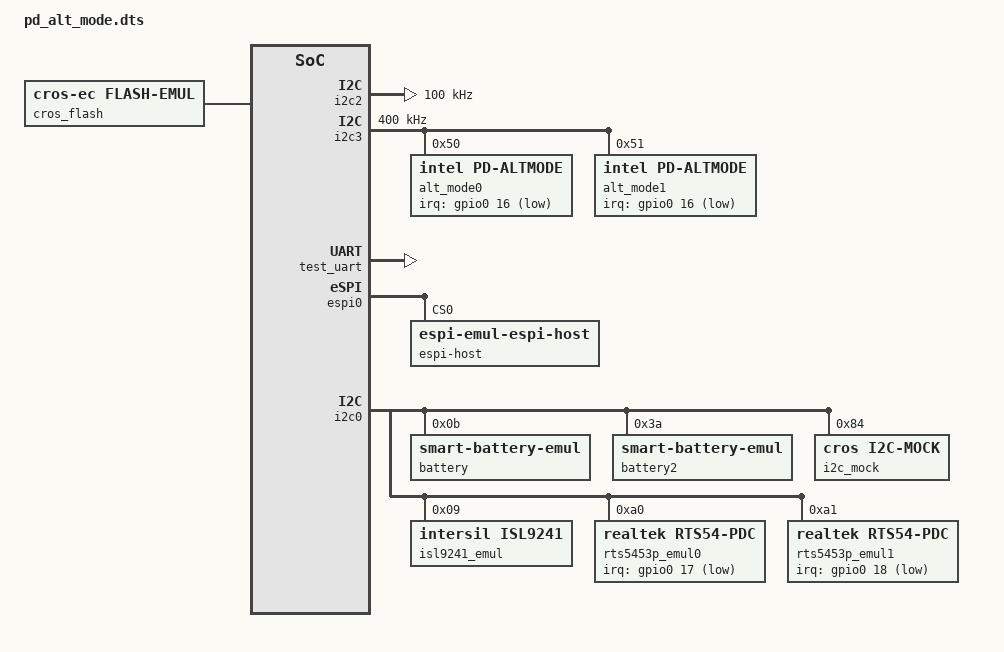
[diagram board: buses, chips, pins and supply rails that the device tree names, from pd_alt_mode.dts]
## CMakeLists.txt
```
# Copyright 2024 The ChromiumOS Authors
# Use of this source code is governed by a BSD-style license that can be
# found in the LICENSE file.

target_include_directories(app PRIVATE ${CMAKE_CURRENT_SOURCE_DIR}/include)

target_sources(app PRIVATE src/usbc_intel_alt_mode.c)
```

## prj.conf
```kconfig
# Copyright 2024 The ChromiumOS Authors
# Use of this source code is governed by a BSD-style license that can be
# found in the LICENSE file.

# Enabling this config will show all I2C traffic, do not commit with this line
# uncommented, it is here to make it easy to find/enable.
# CONFIG_I2C_LOG_LEVEL_DBG=y

CONFIG_ZTEST=y
CONFIG_ZTEST_ASSERT_VERBOSE=1
CONFIG_ZTEST_MOCKING=y
CONFIG_ZTEST_PARAMETER_COUNT=24
CONFIG_TEST=y
CONFIG_PLATFORM_EC_DEBUG_ASSERT=y
# Do not set CONFIG_ASSERT_TEST=y here, it will mask assert failures.
# Instead set CONFIG_ASSERT_TEST=y only on specific tests that require it.
CONFIG_ASSERT_TEST=n
CONFIG_SHELL_VT100_COMMANDS=n

# Print logs from Zephyr LOG_MODULE to stdout
CONFIG_NATIVE_UART_0_ON_STDINOUT=y

# Simulate 10 ticks per ms
CONFIG_SYS_CLOCK_TICKS_PER_SEC=10000
CONFIG_TASKS_SET_TEST_RUNNER_TID_RULE=y

# Enable exception stack traces for better errors
CONFIG_EXCEPTION_STACK_TRACE=y

# Enable debugging features
CONFIG_DEBUG=y
CONFIG_DEBUG_INFO=y
CONFIG_DEBUG_OPTIMIZATIONS=y
CONFIG_PLATFORM_EC_CONSOLE_DEBUG=y
CONFIG_SHELL_BACKEND_DUMMY=y
CONFIG_SHELL_BACKEND_SERIAL=n
CONFIG_SHELL_HELP=y
# We aren't using the serial console, but there is still a lot of code that
# assumes that a serial port exists.
CONFIG_SERIAL=y
CONFIG_RING_BUFFER=y
CONFIG_PLATFORM_EC_I2C_DEBUG_PASSTHRU=y

CONFIG_PLATFORM_EC=y
CONFIG_CROS_EC=y
CONFIG_SHIMMED_TASKS=y
CONFIG_EMUL=y
CONFIG_GPIO=y
CONFIG_PLATFORM_EC_GPIO_INIT_PRIORITY=49

CONFIG_PLATFORM_EC_POWERSEQ=y

CONFIG_PLATFORM_EC_EXTPOWER_GPIO=y

CONFIG_PLATFORM_EC_USB_PID=0x5000
CONFIG_PLATFORM_EC_USBC=y
CONFIG_PLATFORM_EC_I2C_VIRTUAL_BATTERY=y
CONFIG_PLATFORM_EC_CHIP_INIT_ROM_REGION=y
CONFIG_PLATFORM_EC_USB_PD_REV30=y
CONFIG_PLATFORM_EC_BATTERY_FUEL_GAUGE=y
CONFIG_PLATFORM_EC_HOSTCMD=y
CONFIG_PLATFORM_EC_USB_MUX_RUNTIME_CONFIG=y
CONFIG_PLATFORM_EC_SWITCH=y
CONFIG_PLATFORM_EC_USB_PD_DISCHARGE=n
CONFIG_PLATFORM_EC_USB_PD_CLEAR_HARD_RESET_STATUS=y
CONFIG_PLATFORM_EC_CONSOLE_CMD_WAITMS=y
CONFIG_PLATFORM_EC_POWER_SLEEP_FAILURE_DETECTION=y
CONFIG_PLATFORM_EC_CHIPSET_RESUME_INIT_HOOK=y

CONFIG_ESPI=y
CONFIG_EMUL_ESPI_HOST=y
CONFIG_ESPI_PERIPHERAL_ACPI_SHM_REGION=y
CONFIG_ESPI_PERIPHERAL_CUSTOM_OPCODE=y
CONFIG_ESPI_PERIPHERAL_EC_HOST_CMD=y

# Things that default to on, but aren't working yet
CONFIG_PLATFORM_EC_BACKLIGHT_LID=n
CONFIG_PLATFORM_EC_VBOOT_HASH=n
CONFIG_PLATFORM_EC_POWERSEQ_INTEL=n
CONFIG_PLATFORM_EC_POWERSEQ_PP5000_CONTROL=n

# USB-C

# Chipset for Herobrine
CONFIG_AP_ARM_QUALCOMM_SC7280=y
CONFIG_PLATFORM_EC_POWERSEQ_HOST_SLEEP=y

CONFIG_PLATFORM_EC_LID_SWITCH=y
CONFIG_PLATFORM_EC_POWER_BUTTON=y
CONFIG_PLATFORM_EC_HOST_INTERFACE_ESPI=y
CONFIG_PLATFORM_EC_PORT80=y
CONFIG_PLATFORM_EC_VSTORE_SLOT_COUNT=2

CONFIG_PLATFORM_EC_MKBP_EVENT=y
CONFIG_PLATFORM_EC_MKBP_USE_GPIO=y
CONFIG_PLATFORM_EC_MKBP_INPUT_DEVICES=y
CONFIG_FLASH=y
CONFIG_FLASH_PAGE_LAYOUT=y
CONFIG_PLATFORM_EC_VBOOT_HASH=y

CONFIG_PLATFORM_EC_CONSOLE_CMD_MD=y

# Power Management (Herobrine arch enables this)
CONFIG_PM=y
CONFIG_INPUT=y

CONFIG_POWER_SEQUENCE_MOCK=y
CONFIG_PLATFORM_EC_USB_PD_TCPM_MUX=n
CONFIG_PLATFORM_EC_USB_POWER_DELIVERY=n
CONFIG_PLATFORM_EC_USB_PD_HOST_CMD=n
CONFIG_PLATFORM_EC_USBC_PPC=n
CONFIG_PLATFORM_EC_CHARGER=y
CONFIG_PLATFORM_EC_USB_CHARGER=n
CONFIG_TASK_PD_ALTMODE_INTEL_STACK_SIZE=1184
CONFIG_PLATFORM_EC_USB_PD_VBUS_MEASURE_NOT_PRESENT=y
CONFIG_PLATFORM_EC_CHARGER_SENSE_RESISTOR=10
CONFIG_PLATFORM_EC_CHARGER_SENSE_RESISTOR_AC=10
```

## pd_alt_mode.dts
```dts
/* Copyright 2023 The ChromiumOS Authors
 * Use of this source code is governed by a BSD-style license that can be
 * found in the LICENSE file.
 */

#include <board-overlays/native_posix.dts>
#include <cros/binman.dtsi>
#include <cros/thermistor/thermistor.dtsi>
#include <dt-bindings/gpio_defines.h>
#include <dt-bindings/wake_mask_event_defines.h>
#include <freq.h>

/ {
	chosen {
		cros-ec,espi = &espi0;
		cros-ec,flash = &flash0;
		cros-ec,flash-controller = &cros_flash;
		zephyr,shell-uart = &test_uart;
	};

	aliases {
		gpio-wp = &gpio_wp_l;
	};

	ec-console {
		compatible = "ec-console";
		disabled = "events", "lpc", "hostcmd";
	};

	/*
	 * Keep these GPIOs in pin order.
	 * If you need to add one, make sure you increase
	 * ngpios in the gpio0 node further down.
	 */
	named-gpios {
		compatible = "named-gpios";

		gpio_acok_od: acok_od {
			gpios = <&gpio0 0 GPIO_INPUT>;
			enum-name = "GPIO_AC_PRESENT";
		};
		gpio_wp_l: wp_l {
			gpios = <&gpio0 1 (GPIO_INPUT | GPIO_OUTPUT |
					   GPIO_ACTIVE_LOW)>;
		};
		gpio_ec_pch_wake_odl: ec_pch_wake_odl {
			gpios = <&gpio0 2 GPIO_OUTPUT_HIGH>;
		};
		/* SOC Required Pins */
		gpio_ap_rst_l: ap_rst_l {
			gpios = <&gpio0 3 GPIO_INPUT>;
			enum-name = "GPIO_AP_RST_L";
		};
		gpio_ps_hold: ps_hold {
			gpios = <&gpio0 4 (GPIO_INPUT | GPIO_PULL_DOWN)>;
			enum-name = "GPIO_PS_HOLD";
		};
		gpio_mb_power_good: mb_power_good {
			gpios = <&gpio0 5 (GPIO_OUTPUT | GPIO_INPUT |
				GPIO_PULL_DOWN)>;
			enum-name = "GPIO_POWER_GOOD";
		};
		gpio_ap_suspend: ap_suspend {
			gpios = <&gpio0 6 GPIO_INPUT>;
			enum-name = "GPIO_AP_SUSPEND";
		};
		gpio_pmic_kpd_pwr_odl: pmic_kpd_pwr_odl {
			gpios = <&gpio0 7 GPIO_OUTPUT_HIGH>;
			enum-name = "GPIO_PMIC_KPD_PWR_ODL";
		};
		gpio_pmic_resin_l: pmic_resin_l {
			gpios = <&gpio0 8 GPIO_OUTPUT_HIGH>;
			enum-name = "GPIO_PMIC_RESIN_L";
		};
		gpio_warm_reset_l: warm_reset_l {
			gpios = <&gpio0 9 GPIO_INPUT>;
			enum-name = "GPIO_WARM_RESET_L";
		};
		gpio_lid_open_ec: lid_open_ec {
			/* GPIO_PULL_UP will cause this start asserted. */
			gpios = <&gpio0 10 (GPIO_INPUT | GPIO_PULL_UP)>;
			enum-name = "GPIO_LID_OPEN";
		};
		gpio_switchcap_on: switchcap_on {
			gpios = <&gpio0 11 (GPIO_INPUT | GPIO_OUTPUT_LOW)>;
		};
		gpio_ec_pwr_btn_odl: ec_pwr_btn_odl {
			/* GPIO_PULL_UP will cause this start asserted,
			 * i.e. not pressed.
			 */
			gpios = <&gpio0 12 (GPIO_ACTIVE_LOW | GPIO_INPUT | GPIO_PULL_UP)>;
			enum-name = "GPIO_POWER_BUTTON_L";
		};
		gpio_src_vph_pwr_pg: src_vph_pwr_pg {
			gpios = <&gpio0 13 (GPIO_INPUT | GPIO_OUTPUT |
				GPIO_PULL_DOWN)>;
		};
		ec_batt_pres_odl {
			gpios = <&gpio0 14 GPIO_INPUT>;
			enum-name = "GPIO_BATT_PRES_ODL";
		};
		gpio_ap_ec_int_l: ap_ec_int_l {
			gpios = <&gpio0 15 GPIO_OUTPUT_HIGH>;
			enum-name = "GPIO_EC_INT_L";
		};
	};

	gpio-interrupts {
		compatible = "cros-ec,gpio-interrupts";

		int_ac_present: ac_present {
			irq-pin = <&gpio_acok_od>;
			flags = <GPIO_INT_EDGE_BOTH>;
			handler = "extpower_interrupt";
		};
		int_mb_power_good: mb_power_good {
			irq-pin = <&gpio_mb_power_good>;
			flags = <GPIO_INT_EDGE_BOTH>;
			handler = "power_signal_interrupt";
		};
	};

	named-i2c-ports {
		compatible = "named-i2c-ports";

		named_i2c0: i2c0 {
			i2c-port = <&i2c0>;
			enum-names = "I2C_PORT_BATTERY",
				"I2C_PORT_POWER",
				"I2C_PORT_VIRTUAL_BATTERY";
		};
		named_i2c2: i2c2 {
			i2c-port = <&i2c2>;
			dynamic-speed;
			enum-names = "I2C_PORT_USB_C0";
		};
		named_i2c3: i2c3 {
			i2c-port = <&i2c3>;
			dynamic-speed;
			enum-names = "I2C_PORT_USB_C1";
		};
	};

	batteries {
		default_battery: lgc_ac17a8m {
			compatible = "lgc,ac17a8m", "battery-smart";
		};
		ap16l5j {
			compatible = "panasonic,ap16l5j", "battery-smart";
		};
		ap16l8j {
			compatible = "lgc,ap16l8j", "battery-smart";
		};
	};

	/*
	 * Add extra i2c buses to test the I2C passthrough: 1 for sensor and
	 * 2 dedicated for TCPC.
	 */
	i2c2: i2c@500 {
		status = "okay";
		compatible = "zephyr,i2c-emul-controller";
		clock-frequency = <I2C_BITRATE_STANDARD>;
		#address-cells = <1>;
		#size-cells = <0>;
		reg = <0x500 4>;
	};

	i2c3: i2c@600 {
		status = "okay";
		compatible = "zephyr,i2c-emul-controller";
		clock-frequency = <I2C_BITRATE_STANDARD>;
		#address-cells = <1>;
		#size-cells = <0>;
		reg = <0x600 4>;
		status = "okay";
		clock-frequency = <I2C_BITRATE_FAST>;

		alt_mode0: ccg@50 {
			compatible = "intel,pd-altmode";
			reg = <0x50>;
			irq-gpios = <&gpio0 16 GPIO_ACTIVE_LOW>;
		};
		alt_mode1: ccg@51 {
			compatible = "intel,pd-altmode";
			reg = <0x51>;
			irq-gpios = <&gpio0 16 GPIO_ACTIVE_LOW>;
			irq-shared;
		};
	};

	usbc {
		#address-cells = <1>;
		#size-cells = <0>;

		port0@0 {
			compatible = "named-usbc-port";
			reg = <0>;
			alt-mode = <&alt_mode0>;
			chg = <&isl9241_emul>;
			pdc = <&rts5453p_emul0>;
			usb-mux-chain-0 {
				compatible = "cros-ec,usb-mux-chain";
				usb-muxes = <&virtual_mux_0>;
			};
		};
		port0-muxes {
			virtual_mux_0: virtual-mux-0 {
				compatible = "cros-ec,usbc-mux-virtual";
			};
		};
		port1@1 {
			compatible = "named-usbc-port";
			reg = <1>;
			alt-mode = <&alt_mode1>;
			pdc = <&rts5453p_emul1>;
			usb-mux-chain-1 {
				compatible = "cros-ec,usb-mux-chain";
				usb-muxes = <&virtual_mux_1>;
			};
		};
		port1-muxes {
			virtual_mux_1: virtual-mux-1 {
				compatible = "cros-ec,usbc-mux-virtual";
			};
		};
	};

	clock: clock {
		compatible = "cros,clock-control-emul";
		clock-frequency = <DT_FREQ_M(100)>; /* 100 MHz */
	};
	cros_flash: cros-flash {
		compatible = "cros-ec,flash-emul";
	};

	test_uart: uart@55556666 {
	   compatible = "vnd,serial";
	   reg = <0x55556666 0x1000>;
	   status = "okay";
	   buffer-size = <200>;
	};

};

&espi0 {
	espi-host@0 {
		status = "okay";
		compatible = "zephyr,espi-emul-espi-host";
		reg = <0x0>;
	};
};

&gpio0 {
	ngpios = <24>;
};

&i2c0 {
	battery: sb@b {
		compatible = "zephyr,smart-battery-emul";
		reg = <0xb>;
		cycle-count = <99>;
		version = "BATTERY_SPEC_VER_1_1_WITH_PEC";
		/* Real battery voltages are multiples of 4.4V. */
		desired-charg-volt = <5000>;
		desired-charg-cur = <1000>;
		mf-name = "LGC";
		dev-name = "AC17A8M";
	};

	battery2: sb@3a {
		compatible = "zephyr,smart-battery-emul";
		reg = <0x3a>;
		cycle-count = <99>;
		version = "BATTERY_SPEC_VER_1_1_WITH_PEC";
		/* Real battery voltages are multiples of 4.4V. */
		desired-charg-volt = <5000>;
		desired-charg-cur = <1000>;
		mf-name = "PANASONIC";
		dev-name = "AP16L5J";
	};
	i2c_mock: i2c_mock@84 {
		compatible = "cros,i2c-mock";
		status = "okay";
		reg = <0x84>;
	};
	isl9241_emul: isl9241@9 {
		compatible = "intersil,isl9241";
		status = "okay";
		reg = <0x9>;
	};
	rts5453p_emul0: rts5453p@a0 {
		compatible = "realtek,rts54-pdc";
		reg = <0xa0>;
		status = "okay";
		irq-gpios = <&gpio0 17 GPIO_ACTIVE_LOW>;
	};
	rts5453p_emul1: rts5453p@a1 {
		compatible = "realtek,rts54-pdc";
		reg = <0xa1>;
		status = "okay";
		irq-gpios = <&gpio0 18 GPIO_ACTIVE_LOW>;
	};
};

&flash0 {
	erase-block-size = <0x1000>;
	write-block-size = <1>;
	reg = <0x00000000 DT_SIZE_K(512)>;
};
```

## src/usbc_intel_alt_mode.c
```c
/* Copyright 2024 The ChromiumOS Authors
 * Use of this source code is governed by a BSD-style license that can be
 * found in the LICENSE file.
 */

#include "console.h"
#include "test/drivers/test_state.h"
#include "test/drivers/utils.h"
#include "usb_mux.h"

#include <time.h>

#include <zephyr/shell/shell.h>
#include <zephyr/shell/shell_dummy.h>
#include <zephyr/ztest.h>

#include <drivers/intel_altmode.h>
#include <emul_intel_pd_controller.h>
#include <host_command.h>

#define DT_DRV_COMPAT intel_pd_altmode

/* Delay longer than driver ISR latency */
#define USBC_INTEL_ALTMODE_DELAY (500) /* 500 ms */
#define USBC_INTEL_ALTMODE_WAIT() k_msleep(USBC_INTEL_ALTMODE_DELAY)

#define USBC_INTEL_ALTMODE_EMUL_ARRAY_WITH_COMMA(node_id) EMUL_DT_GET(node_id),

#define CHECK_MUX_FLAGS(port, flags) ((usb_mux_get(port) & (flags)) == (flags))

const struct emul *emul_pd_ctrlr[] = { DT_FOREACH_STATUS_OKAY(
	DT_DRV_COMPAT, USBC_INTEL_ALTMODE_EMUL_ARRAY_WITH_COMMA) };

#define USBC_INTEL_ALTMODE_PORT_ENUM_WITH_COMMA(n) USBC_PORT##n,

enum usbc_port {
	DT_INST_FOREACH_STATUS_OKAY(USBC_INTEL_ALTMODE_PORT_ENUM_WITH_COMMA)
		USBC_PORT_COUNT,
};

BUILD_ASSERT(USBC_PORT_COUNT == CONFIG_USB_PD_PORT_MAX_COUNT);

/*
 * These functions are required to satisfy build since
 * CONFIG_PLATFORM_EC_CHARGE_MANAGER is not set.
 */
__override int charge_get_display_charge(void)
{
	return 0;
}

/* Test functions */
void usbc_intel_altmode_before(void *fixture)
{
	/* Give some time to driver to response settle registers before each
	 * test.
	 */
	USBC_INTEL_ALTMODE_WAIT();
}

ZTEST_USER(usbc_intel_altmode, test_conn)
{
	for (int i = 0; i < USBC_PORT_COUNT; i++) {
		emul_intel_pd_controller_connect_data(emul_pd_ctrlr[i]);
	}
	USBC_INTEL_ALTMODE_WAIT();
	for (int i = 0; i < USBC_PORT_COUNT; i++) {
		zassert_true(pd_is_connected(i), "Port %d Failed", i);
	}
}

ZTEST_USER(usbc_intel_altmode, test_mux_usb2)
{
	zassert_false(pd_is_connected(USBC_PORT0));
	zassert_false(CHECK_MUX_FLAGS(USBC_PORT0, USB_PD_MUX_USB_ENABLED));
	zassert_false(pd_is_connected(USBC_PORT1));
	zassert_false(CHECK_MUX_FLAGS(USBC_PORT1, USB_PD_MUX_USB_ENABLED));

	for (int i = 0; i < USBC_PORT_COUNT; i++) {
		emul_intel_pd_controller_connect_data(emul_pd_ctrlr[i]);
		emul_intel_pd_controller_connect_usb2(emul_pd_ctrlr[i]);
	}
	USBC_INTEL_ALTMODE_WAIT();

	for (int i = 0; i < USBC_PORT_COUNT; i++) {
		zassert_true(pd_is_connected(i));
		zassert_true(CHECK_MUX_FLAGS(i, USB_PD_MUX_USB_ENABLED),
			     "Port %d Failed", i);
	}
}

ZTEST_USER(usbc_intel_altmode, test_mux_usb3_2)
{
	zassert_false(pd_is_connected(USBC_PORT0));
	zassert_false(CHECK_MUX_FLAGS(USBC_PORT0, USB_PD_MUX_USB_ENABLED));
	zassert_false(pd_is_connected(USBC_PORT1));
	zassert_false(CHECK_MUX_FLAGS(USBC_PORT1, USB_PD_MUX_USB_ENABLED));

	for (int i = 0; i < USBC_PORT_COUNT; i++) {
		emul_intel_pd_controller_connect_data(emul_pd_ctrlr[i]);
		emul_intel_pd_controller_connect_usb3_2(emul_pd_ctrlr[i]);
	}
	USBC_INTEL_ALTMODE_WAIT();

	for (int i = 0; i < USBC_PORT_COUNT; i++) {
		zassert_true(pd_is_connected(i));
		zassert_true(CHECK_MUX_FLAGS(i, USB_PD_MUX_USB_ENABLED),
			     "Port %d Failed", i);
	}
}

#ifdef CONFIG_CONSOLE_CMD_USBPD_INTEL_ALTMODE
static int usbc_intel_altmode_run_console_cmd(const char *cmd,
					      const char **resp,
					      size_t *resp_size)
{
	const struct shell *sh = get_ec_shell();
	int rv;

	shell_backend_dummy_clear_output(sh);

	rv = shell_execute_cmd(sh, cmd);

	if (resp && resp_size) {
		*resp = shell_backend_dummy_get_output(sh, resp_size);
	}

	return rv;
}

ZTEST_USER(usbc_intel_altmode, test_console_cmd)
{
	union data_status_reg _status = { 0 };
	union data_status_reg status = { 0 };
	const char *rdval = "RD_VAL:";
	const char *buffer;
	size_t buffer_size;
	unsigned int temp[INTEL_ALTMODE_DATA_STATUS_REG_LEN];
	int rv;

	rv = usbc_intel_altmode_run_console_cmd("altmode read 0", &buffer,
						&buffer_size);
	zassert_equal(EC_SUCCESS, rv);

	zassert_not_null(buffer);

	/* Place `buffer` pointer in the right position for scanning */
	buffer = strstr(buffer, rdval);
	zassert_not_null(buffer);

	rv = sscanf(buffer,
		    "RD_VAL: [0]0x%x, [1]0x%x, [2]0x%x, [3]0x%x, [4]0x%x",
		    &temp[0], &temp[1], &temp[2], &temp[3], &temp[4]);
	zassert_equal(INTEL_ALTMODE_DATA_STATUS_REG_LEN, rv);

	for (int i = 0; i < INTEL_ALTMODE_DATA_STATUS_REG_LEN; i++) {
		_status.raw_value[i] = temp[i] & 0xFF;
	}
	zassert_equal(0, strncmp(&status.raw_value[0], &_status.raw_value[0],
				 sizeof(status)));

	rv = usbc_intel_altmode_run_console_cmd(
		"altmode write 0 0x0 0x1 0x2 0x3 0x4 0x5", NULL, 0);

	zassert_equal(EC_SUCCESS, rv);
}

ZTEST_USER(usbc_intel_altmode, test_error_console_cmd)
{
	const char *buffer;
	size_t buffer_size;
	const char *err_msg = "Invalid port";
	int rv;

	/* Test read command error */
	rv = usbc_intel_altmode_run_console_cmd("altmode read 5", &buffer,
						&buffer_size);
	zassert_equal(-EINVAL, rv);
	zassert_not_null(buffer);

	buffer = strstr(buffer, err_msg);
	zassert_not_null(buffer);

	/* Test write command error */
	rv = usbc_intel_altmode_run_console_cmd(
		"altmode write 5 0x0 0x1 0x2 0x3 0x4 0x5", &buffer,
		&buffer_size);
	zassert_equal(-EINVAL, rv);
	zassert_not_null(buffer);

	buffer = strstr(buffer, err_msg);
	zassert_not_null(buffer);
}
#endif /* CONFIG_CONSOLE_CMD_USBPD_INTEL_ALTMODE */

ZTEST_SUITE(usbc_intel_altmode, drivers_predicate_post_main, NULL,
	    usbc_intel_altmode_before, NULL, NULL);
```
